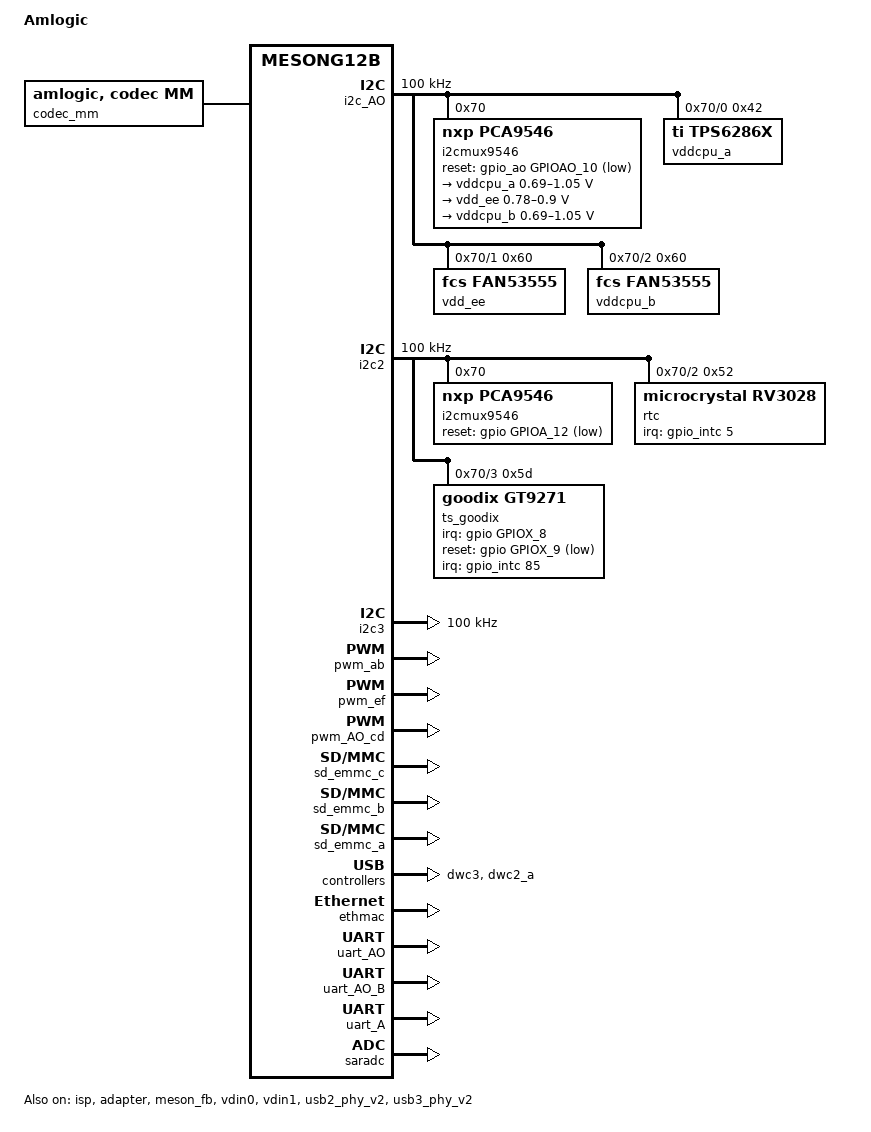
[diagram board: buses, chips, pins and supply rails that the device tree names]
/*
 * arch/arm/boot/dts/amlogic/g12b_a311d_w400.dts
 *
 * Copyright (C) 2017 Amlogic, Inc. All rights reserved.
 *
 * This program is free software; you can redistribute it and/or modify
 * it under the terms of the GNU General Public License as published by
 * the Free Software Foundation; either version 2 of the License, or
 * (at your option) any later version.
 *
 * This program is distributed in the hope that it will be useful, but WITHOUT
 * ANY WARRANTY; without even the implied warranty of MERCHANTABILITY or
 * FITNESS FOR A PARTICULAR PURPOSE.  See the GNU General Public License for
 * more details.
 *
 */

/dts-v1/;

#include "partition_mbox_normal_P_32.dtsi"
#include "mesong12b.dtsi"
#include "mesong12b_skt-panel.dtsi"

/ {
	model = "Amlogic";
	amlogic-dt-id = "g12b_w400_b";
	compatible = "amlogic, g12b";
	interrupt-parent = <&gic>;
	#address-cells = <1>;
	#size-cells = <1>;

	aliases {
		serial0 = &uart_AO;
		serial1 = &uart_AO_B;
		serial2 = &uart_A;
		i2c0 = &i2c_AO;
		i2c1 = &i2c2;
		i2c2 = &i2c3;
		tsensor0 = &p_tsensor;
		tsensor1 = &d_tsensor;
	};

	memory@00000000 {
		device_type = "memory";
		linux,usable-memory = <0x000000 0x80000000>;
	};

	reserved-memory {
		#address-cells = <1>;
		#size-cells = <1>;
		ranges;
		/* global autoconfigured region for contiguous allocations */
		ramoops@0x07400000 {
			compatible = "ramoops";
			reg = <0x07400000 0x00100000>;
			record-size = <0x8000>;
			console-size = <0x8000>;
			ftrace-size = <0x40000>;
		};

		secmon_reserved:linux,secmon {
			compatible = "shared-dma-pool";
			reusable;
			size = <0x400000>;
			alignment = <0x400000>;
			alloc-ranges = <0x05000000 0x400000>;
			clear-map;
		};

		secos_reserved:linux,secos {
			status = "disable";
			compatible = "amlogic, aml_secos_memory";
			reg = <0x05300000 0x2000000>;
			no-map;
		};
		logo_reserved:linux,meson-fb {
			compatible = "shared-dma-pool";
			reusable;
			size = <0x800000>;
			alignment = <0x400000>;
			alloc-ranges = <0x7f800000 0x800000>;
		};
		ion_cma_reserved:linux,ion-dev {
			compatible = "shared-dma-pool";
			reusable;
			size = <0x8000000>;
			alignment = <0x400000>;
		};

		/*di CMA pool */
		di_cma_reserved:linux,di_cma {
			compatible = "shared-dma-pool";
			reusable;
			/* buffer_size = 3621952(yuv422 8bit)
			 *  | 4736064(yuv422 10bit)
			 *  | 4074560(yuv422 10bit full pack mode)
			 * 10x3621952=34.6M(0x23) support 8bit
			 * 10x4736064=45.2M(0x2e) support 12bit
			 * 10x4074560=40M(0x28) support 10bit
			 */
			size = <0x02800000>;
			alignment = <0x400000>;
		};
		/*  POST PROCESS MANAGER */
		ppmgr_reserved:linux,ppmgr {
			compatible = "shared-dma-pool";
			size = <0x0>;
		};
		codec_mm_cma:linux,codec_mm_cma {
			compatible = "shared-dma-pool";
			reusable;
			/* ion_codec_mm max can alloc size 80M*/
			size = <0x13400000>;
			alignment = <0x400000>;
			linux,contiguous-region;
		};
		/* codec shared reserved */
		codec_mm_reserved:linux,codec_mm_reserved {
			compatible = "amlogic, codec-mm-reserved";
			size = <0x0>;
			alignment = <0x100000>;
			//no-map;
		};
		/*  vdin0 CMA pool */
		vdin0_cma_reserved:linux,vdin0_cma {
			compatible = "shared-dma-pool";
			reusable;
		/* 1920x1080x2x4  =16+4 M */
			size = <0x04000000>;
			alignment = <0x400000>;
		};
		/*  vdin1 CMA pool */
		vdin1_cma_reserved:linux,vdin1_cma {
			compatible = "shared-dma-pool";
			reusable;
			/* 1920x1080x2x4  =16 M */
			size = <0x04000000>;
			alignment = <0x400000>;
		};
		galcore_reserved:linux,galcore {
			compatible = "shared-dma-pool";
			reusable;
			size = <0x1000000>;
			alignment = <0x400000>;
			linux,contiguous-region;
		};
		isp_cma_reserved:linux,isp_cma {
			compatible = "shared-dma-pool";
			reusable;
			status = "okay";
			size = <0x06800000>;
			alignment = <0x400000>;
		};
		adapt_cma_reserved:linux,adapt_cma {
			compatible = "shared-dma-pool";
			reusable;
			status = "okay";
			size = <0x01800000>;
			alignment = <0x400000>;
		};
	};

	galcore {
		status = "okay";
		memory-region = <&galcore_reserved>;
	};

	codec_mm {
		compatible = "amlogic, codec, mm";
		memory-region = <&codec_mm_cma &codec_mm_reserved>;
		dev_name = "codec_mm";
		status = "okay";
	};

	ppmgr {
		compatible = "amlogic, ppmgr";
		memory-region = <&ppmgr_reserved>;
		dev_name = "ppmgr";
		status = "okay";
	};

	ionvideo {
		compatible = "amlogic, ionvideo";
		dev_name = "ionvideo";
		status = "okay";
	};

	amlvideo2_0 {
		compatible = "amlogic, amlvideo2";
		dev_name = "amlvideo2";
		status = "okay";
		amlvideo2_id = <0>;
		cma_mode = <1>;
	};

	amlvideo2_1 {
		compatible = "amlogic, amlvideo2";
		dev_name = "amlvideo2";
		status = "okay";
		amlvideo2_id = <1>;
		cma_mode = <1>;
	};

	unifykey{
		compatible = "amlogic, unifykey";
		status = "ok";
		unifykey-num = <16>;
		unifykey-index-0 = <&keysn_0>;
		unifykey-index-1 = <&keysn_1>;
		unifykey-index-2 = <&keysn_2>;
		unifykey-index-3 = <&keysn_3>;
		unifykey-index-4 = <&keysn_4>;
		unifykey-index-5 = <&keysn_5>;
		unifykey-index-6 = <&keysn_6>;
		unifykey-index-7 = <&keysn_7>;
		unifykey-index-8 = <&keysn_8>;
		unifykey-index-9 = <&keysn_9>;
		unifykey-index-10= <&keysn_10>;
		unifykey-index-11= <&keysn_11>;
		unifykey-index-12= <&keysn_12>;
		unifykey-index-13= <&keysn_13>;
		unifykey-index-14= <&keysn_14>;
		unifykey-index-15= <&keysn_15>;

		keysn_0: key_0{
			key-name = "usid";
			key-device = "normal";
			key-permit = "read","write","del";
		};
		keysn_1:key_1{
			key-name = "mac";
			key-device = "normal";
			key-permit = "read","write","del";
		};
		keysn_2:key_2{
			key-name = "hdcp";
			key-device = "secure";
			key-type = "sha1";
			key-permit = "read","write","del";
		};
		keysn_3:key_3{
			key-name = "secure_boot_set";
			key-device = "efuse";
			key-permit = "write";
		};
		keysn_4:key_4{
			key-name = "mac_bt";
			key-device = "normal";
			key-permit = "read","write","del";
			key-type  = "mac";
		};
		keysn_5:key_5{
			key-name = "mac_wifi";
			key-device = "normal";
			key-permit = "read","write","del";
			key-type = "mac";
		};
		keysn_6:key_6{
			key-name = "hdcp2_tx";
			key-device = "normal";
			key-permit = "read","write","del";
		};
		keysn_7:key_7{
			key-name = "hdcp2_rx";
			key-device = "normal";
			key-permit = "read","write","del";
		};
		keysn_8:key_8{
			key-name = "widevinekeybox";
			key-device = "secure";
			key-permit = "read","write","del";
		};
		keysn_9:key_9{
			key-name = "deviceid";
			key-device = "normal";
			key-permit = "read","write","del";
		};
		keysn_10:key_10{
			key-name = "hdcp22_fw_private";
			key-device = "secure";
			key-permit = "read","write","del";
		};
		keysn_11:key_11{
			key-name = "PlayReadykeybox25";
			key-device = "secure";
			key-permit = "read","write","del";
		};
		keysn_12:key_12{
			key-name = "prpubkeybox";// PlayReady
			key-device = "secure";
			key-permit = "read","write","del";
		};
		keysn_13:key_13{
			key-name = "prprivkeybox";// PlayReady
			key-device = "secure";
			key-permit = "read","write","del";
		};
		keysn_14:key_14{
			key-name = "attestationkeybox";// attestation key
			key-device = "secure";
			key-permit = "read","write","del";
		};
		keysn_15:key_15{
			key-name = "netflix_mgkid";
			key-device = "secure";
			key-permit = "read","write","del";
		};
	};//End unifykey

	efusekey:efusekey{
		keynum = <4>;
		key0 = <&key_0>;
		key1 = <&key_1>;
		key2 = <&key_2>;
		key3 = <&key_3>;
		key_0:key_0{
			keyname = "mac";
			offset = <0>;
			size = <6>;
		};
		key_1:key_1{
			keyname = "mac_bt";
			offset = <6>;
			size = <6>;
		};
		key_2:key_2{
			keyname = "mac_wifi";
			offset = <12>;
			size = <6>;
		};
		key_3:key_3{
			keyname = "usid";
			offset = <18>;
			size = <16>;
		};
	};//End efusekey

	amlvecm {
		compatible = "amlogic, vecm";
		dev_name = "aml_vecm";
		status = "okay";
		gamma_en = <0>;/*1:enabel ;0:disable*/
		wb_en = <0>;/*1:enabel ;0:disable*/
		cm_en = <0>;/*1:enabel ;0:disable*/

		interrupts = <0 56 1>;
		interrupt-names = "vsync2";
	};
	amdolby_vision {
		compatible = "amlogic, dolby_vision_g12a";
		dev_name = "aml_amdolby_vision_driver";
		status = "okay";
		tv_mode = <0>;/*1:enabel ;0:disable*/
	};

	cpu_opp_table0: cpu_opp_table0 {
		compatible = "operating-points-v2";
		opp-shared;

		opp00 {
			opp-hz = /bits/ 64 <500000000>;
			opp-microvolt = <730000>;
		};
		opp01 {
			opp-hz = /bits/ 64 <667000000>;
			opp-microvolt = <730000>;
		};
		opp02 {
			opp-hz = /bits/ 64 <1000000000>;
			opp-microvolt = <760000>;
		};
		opp03 {
			opp-hz = /bits/ 64 <1200000000>;
			opp-microvolt = <780000>;
		};
		opp04 {
			opp-hz = /bits/ 64 <1398000000>;
			opp-microvolt = <810000>;
		};
		opp05 {
			opp-hz = /bits/ 64 <1512000000>;
			opp-microvolt = <860000>;
		};
		opp06 {
			opp-hz = /bits/ 64 <1608000000>;
			opp-microvolt = <900000>;
		};
		opp07 {
			opp-hz = /bits/ 64 <1704000000>;
			opp-microvolt = <960000>;
		};
		opp08 {
			opp-hz = /bits/ 64 <1800000000>;
			opp-microvolt = <1020000>;
		};
	};

	cpu_opp_table1: cpu_opp_table1 {
		compatible = "operating-points-v2";
		opp-shared;

		opp00 {
			opp-hz = /bits/ 64 <500000000>;
			opp-microvolt = <730000>;
		};
		opp01 {
			opp-hz = /bits/ 64 <667000000>;
			opp-microvolt = <730000>;
		};
		opp02 {
			opp-hz = /bits/ 64 <1000000000>;
			opp-microvolt = <730000>;
		};
		opp03 {
			opp-hz = /bits/ 64 <1200000000>;
			opp-microvolt = <750000>;
		};
		opp04 {
			opp-hz = /bits/ 64 <1398000000>;
			opp-microvolt = <770000>;
		};
		opp05 {
			opp-hz = /bits/ 64 <1512000000>;
			opp-microvolt = <770000>;
		};
		opp06 {
			opp-hz = /bits/ 64 <1608000000>;
			opp-microvolt = <780000>;
		};
		opp07 {
			opp-hz = /bits/ 64 <1704000000>;
			opp-microvolt = <790000>;
		};
		opp08 {
			opp-hz = /bits/ 64 <1800000000>;
			opp-microvolt = <830000>;
		};
		opp09 {
			opp-hz = /bits/ 64 <1908000000>;
			opp-microvolt = <860000>;
		};
		opp10 {
			opp-hz = /bits/ 64 <2016000000>;
			opp-microvolt = <910000>;
		};
		opp11 {
			opp-hz = /bits/ 64 <2100000000>;
			opp-microvolt = <960000>;
		};
		opp12 {
			opp-hz = /bits/ 64 <2208000000>;
			opp-microvolt = <1030000>;
		};
	};

	cpufreq-meson {
		compatible = "amlogic, cpufreq-meson";
		status = "okay";
	};
}; /* end of / */

&isp {
	status = "okay";
	memory-region = <&isp_cma_reserved>;
};

&adapter {
	status = "okay";
	memory-region = <&adapt_cma_reserved>;
};

&i2c_AO {
	clock-frequency = <100000>;
	status = "okay";
	pinctrl-0 = <&ao_i2c_master_pins1>;
	pinctrl-names = "default";

	i2cmux9546@70 {
		#address-cells = <1>;
		#size-cells = <0>;
		compatible = "nxp,pca9546";
		reg = <0x70>;
		reset-gpios = <&gpio_ao GPIOAO_10 GPIO_ACTIVE_LOW>;
		status = "okay";

		i2c_AO_a: i2c@0 {
			#address-cells = <1>;
			#size-cells = <0>;
			clock-frequency = <400000>;
			reg = <0>;
		};

		i2c_AO_b: i2c@1 {
			#address-cells = <1>;
			#size-cells = <0>;
			reg = <1>;
		};

		i2c_AO_c: i2c@2 {
			#address-cells = <1>;
			#size-cells = <0>;
			reg = <2>;
		};

		i2c_AO_d: i2c@3 {
			#address-cells = <1>;
			#size-cells = <0>;
			reg = <3>;
		};
	};
};

&i2c_AO_a {
	vddcpu_a: regulator-vddcpu-a@42 {
		/* TPS628660AYCG Regulator */
		compatible = "ti,tps6286x";
		reg = <0x42>;
		regulator-name = "VDDCPU_A";
		regulator-min-microvolt = <690000>;
		regulator-max-microvolt = <1050000>;
		regulator-boot-on;
		regulator-always-on;
	};
};

&i2c_AO_b {
	vdd_ee: regulator-vddcpu-b@60 {
		/* fan5355 Regulator */
		compatible = "fcs,fan53555";
		reg = <0x60>;
		regulator-name = "VDD_EE";
		regulator-min-microvolt = <780000>;
		regulator-max-microvolt = <900000>;
		regulator-boot-on;
		regulator-always-on;
	};
};

&i2c_AO_c {
	vddcpu_b: regulator-vddcpu-b@60 {
		/* fan5355 Regulator */
		compatible = "fcs,fan53555";
		reg = <0x60>;
		regulator-name = "VDDCPU_B";
		regulator-min-microvolt = <690000>;
		regulator-max-microvolt = <1050000>;
		regulator-boot-on;
		regulator-always-on;
	};
};

&i2c_AO_d {
	/* camera connector */
};

&i2c2 {
	clock-frequency = <100000>;
	status = "okay";
	pinctrl-0 = <&i2c2_master_pins1>;
	pinctrl-names = "default";

	i2cmux9546@70 {
		#address-cells = <1>;
		#size-cells = <0>;
		compatible = "nxp,pca9546";
		reg = <0x70>;
		reset-gpios = <&gpio GPIOA_12 GPIO_ACTIVE_LOW>;
		status = "okay";

		i2c2_a: i2c@0 {
			#address-cells = <1>;
			#size-cells = <0>;
			reg = <0>;
		};

		i2c2_b: i2c@1 {
			#address-cells = <1>;
			#size-cells = <0>;
			reg = <1>;
		};

		i2c2_c: i2c@2 {
			#address-cells = <1>;
			#size-cells = <0>;
			reg = <2>;
		};

		i2c2_d: i2c@3 {
			#address-cells = <1>;
			#size-cells = <0>;
			reg = <3>;
		};
	};
};

&i2c2_a {
	/* TypeC chip */
};

&i2c2_b {
	/* unused */
};

&i2c2_c {
	/* RTC */
	rtc@52 {
		backup-switchover-dsm;
		compatible = "microcrystal,rv3028";
		interrupts-extended = <&gpio_intc 5 IRQ_TYPE_LEVEL_LOW>;
		reg = <0x52>;
		wakeup-source;
	};
};

&i2c2_d {
	/* DSI touch controller */
	ts_goodix: touchscreen@5d {
		compatible = "goodix,gt9271";
		interrupts-extended = <&gpio_intc 85 IRQ_TYPE_LEVEL_HIGH>;
		irq-gpios = <&gpio GPIOX_8 GPIO_ACTIVE_HIGH>;
		reg = <0x5d>;
		reset-gpios = <&gpio GPIOX_9 GPIO_ACTIVE_LOW>;
		status = "okay";
	};
};

/* i2c Audio */
&i2c3 {
	clock-frequency = <100000>;
	pinctrl-names = "default";
	pinctrl-0 = <&i2c3_master_pins2>;
	status = "okay";
#if 0
	wm8960: codec@1a {
		assigned-clocks = <&clkc_audio AUD_CLKID_MST_A_MCLK>;
		assigned-clock-rates = <11289532>;
		/* a_mclk, but b_sclk, b_lrclk */
		clocks = <&clkc_audio AUD_CLKID_MST_A_MCLK>;
		clock-names = "mclk";
		compatible = "wlf,wm8960";
		reg = <0x1a>;
		sound-name-prefix = "WM";
		wlf,gpio-cfg = <1 3>;
		wlf,hp-cfg = <2 2 3>;
		wlf,shared-lrclk;
		#sound-dai-cells = <0>;
	};
#endif
};

&meson_fb {
	status = "okay";
	display_size_default = <1920 1080 1920 2160 32>;
	mem_size = <0x00800000 0x1980000 0x100000 0x100000 0x800000>;
	logo_addr = "0x7f800000";
	mem_alloc = <0>;
	pxp_mode = <0>; /** 0:normal mode 1:pxp mode */
};

&pwm_ab {
	status = "okay";
};

&pwm_ef {
	status = "okay";
};

&pwm_AO_cd {
	status = "okay";
};

&pinctrl_periphs {
	bl_pwm_off_pins: bl-pwm-off-pin {
		mux {
			pins = "GPIOA_11";
			function = "gpio_periphs";
			output-high;
		};
	};
};

&pinctrl_aobus {
};

/*if you want to use vdin just modify status to "ok"*/
&vdin0 {
	memory-region = <&vdin0_cma_reserved>;
	status = "okay";
	/*vdin write mem color depth support:
	 *bit0:support 8bit
	 *bit1:support 9bit
	 *bit2:support 10bit
	 *bit3:support 12bit
	 *bit4:support yuv422 10bit full pack mode (from txl new add)
	 */
	tv_bit_mode = <0x15>;
};

&vdin1 {
	memory-region = <&vdin1_cma_reserved>;
	status = "okay";
	/*vdin write mem color depth support:
	 *bit0:support 8bit
	 *bit1:support 9bit
	 *bit2:support 10bit
	 *bit3:support 12bit
	 */
	tv_bit_mode = <1>;
};

/* eMMC */
&sd_emmc_c {
	status = "okay";
	emmc {
		caps = "MMC_CAP_8_BIT_DATA",
			 "MMC_CAP_MMC_HIGHSPEED",
			 "MMC_CAP_SD_HIGHSPEED",
			 "MMC_CAP_NONREMOVABLE",
			 "MMC_CAP_1_8V_DDR",
			 "MMC_CAP_HW_RESET",
			 "MMC_CAP_ERASE",
			 "MMC_CAP_CMD23",
			 "MMC_CAP_DRIVER_TYPE_A";
		caps2 = "MMC_CAP2_HS200";
		/*MMC_CAP2_HS400"*/
		f_min = <400000>;
		f_max = <200000000>;
		hw_reset = <&gpio BOOT_12 GPIO_ACTIVE_HIGH>;
	};
};

/* SD Card */
&sd_emmc_b {
	status = "okay";
	sd {
		caps = "MMC_CAP_4_BIT_DATA",
			 "MMC_CAP_MMC_HIGHSPEED",
			 "MMC_CAP_SD_HIGHSPEED";
		f_min = <400000>;
		f_max = <50000000>;
	};
};

/* WiFi */
&sd_emmc_a {
	status = "okay";
	sdio {
		caps = "MMC_CAP_4_BIT_DATA",
			 "MMC_CAP_MMC_HIGHSPEED",
			 "MMC_CAP_SD_HIGHSPEED",
			 "MMC_CAP_NONREMOVABLE",
			 "MMC_CAP_UHS_SDR12",
			 "MMC_CAP_UHS_SDR25",
			 "MMC_CAP_UHS_SDR50",
			 "MMC_CAP_UHS_SDR104",
			 "MMC_PM_KEEP_POWER",
			 "MMC_CAP_SDIO_IRQ";
		f_min = <400000>;
		f_max = <200000000>;
	};
};

&dwc3 {
	status = "okay";
};

&usb2_phy_v2 {
	status = "okay";
	portnum = <2>;
};

&usb3_phy_v2 {
	status = "okay";
	portnum = <1>;
	otg = <1>;
	gpio-vbus-power = "GPIOH_6";
	gpios = <&gpio GPIOH_6 GPIO_ACTIVE_HIGH>;
};

&dwc2_a {
	status = "okay";
	/** 0: normal, 1: otg+dwc3 host only, 2: otg+dwc3 device only*/
	controller-type = <3>;
};

&ethmac {
	status = "okay";
	pinctrl-names = "internal_eth_pins";
	pinctrl-0 = <&internal_eth_pins>;
	mc_val = <0x4be04>;

	internal_phy=<1>;
};

&uart_AO {
	status = "okay";
	pinctrl-0 = <&ao_uart_pins>;
	pinctrl-names = "default";
};

&uart_AO_B {
	status = "okay";
	pinctrl-0 = <&ao_b_alt_uart_pins>;
	pinctrl-names = "default";
};

&uart_A {
	status = "okay";
	pinctrl-0 = <&a_uart_pins>;
	pinctrl-names = "default";
	uart-has-rtscts;
};

&pcie_A {
	reset-gpio = <&gpio GPIOX_7 GPIO_ACTIVE_HIGH>;
	status = "disable";
};

&saradc {
	status = "okay";
};
